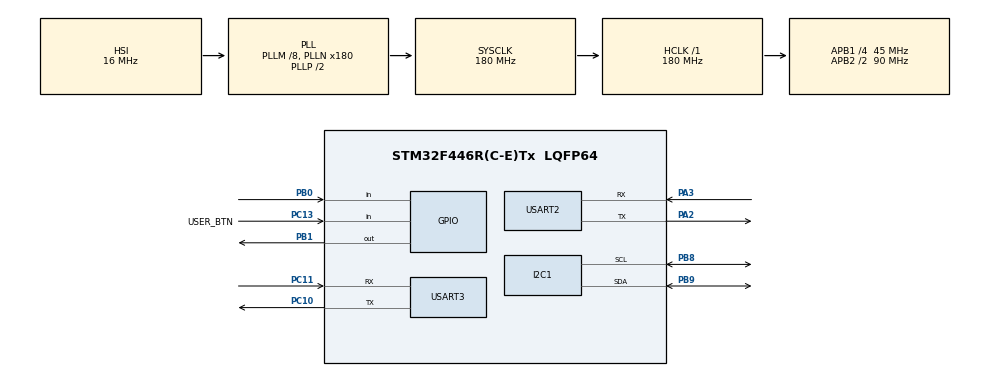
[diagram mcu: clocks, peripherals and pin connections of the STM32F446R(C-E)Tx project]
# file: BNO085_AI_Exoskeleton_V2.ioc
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I2C1.I2C_Mode=I2C_Standard
Mcu.Family=STM32F4
Mcu.Name=STM32F446R(C-E)Tx
Mcu.Package=LQFP64
NVIC.PriorityGroup=NVIC_PRIORITYGROUP_4
PA2.Mode=Asynchronous
PA2.Signal=USART2_TX
PA3.Mode=Asynchronous
PA3.Signal=USART2_RX
PB0.GPIO_PuPd=GPIO_NOPULL
PB0.Signal=GPIO_Input
PB1.Signal=GPIO_Output
PB8.GPIO_Pu=GPIO_PULLUP
PB8.Mode=I2C
PB8.Signal=I2C1_SCL
PB9.GPIO_Pu=GPIO_PULLUP
PB9.Mode=I2C
PB9.Signal=I2C1_SDA
PC10.Mode=Asynchronous
PC10.Signal=USART3_TX
PC11.Mode=Asynchronous
PC11.Signal=USART3_RX
PC13.GPIO_Label=USER_BTN
PC13.Signal=GPIO_Input
ProjectManager.HeapSize=0x800
ProjectManager.StackSize=0x800
ProjectManager.TargetToolchain=STM32CubeIDE
RCC.AHBFreq_Value=180000000
RCC.APB1CLKDivider=RCC_HCLK_DIV4
RCC.APB1Freq_Value=45000000
RCC.APB1TimFreq_Value=90000000
RCC.APB2CLKDivider=RCC_HCLK_DIV2
RCC.APB2Freq_Value=90000000
RCC.APB2TimFreq_Value=180000000
RCC.CortexFreq_Value=180000000
RCC.FLatency-AdvancedSettings=FLASH_LATENCY_5
RCC.HCLKFreq_Value=180000000
RCC.PLLM=8
RCC.PLLN=180
RCC.PLLP=2
RCC.SYSCLKFreq_VALUE=180000000
RCC.SYSCLKSource=RCC_SYSCLKSOURCE_PLLCLK
RCC.USBFreq_Value=180000000
RCC.VCOOutputFreq_Value=360000000
STMicroelectronics.X-CUBE-AI.10.2.0.ActivationBufferSizeList=2712
STMicroelectronics.X-CUBE-AI.10.2.0.ActivationBuffers=pool0
STMicroelectronics.X-CUBE-AI.10.2.0.ActivationNames=pool0
STMicroelectronics.X-CUBE-AI.10.2.0.ActivationSizes=AI_NETWORK_DATA_ACTIVATION_1_SIZE
STMicroelectronics.X-CUBE-AI.10.2.0.HeapSize=0x800
STMicroelectronics.X-CUBE-AI.10.2.0.InternalRamActivationBufferMaxSize=AI_NETWORK_DATA_ACTIVATIONS_SIZE
STMicroelectronics.X-CUBE-AI.10.2.0.LatestDirectoryUsed-8e456ab1ebd7fc26441a1bce2e34847979cb4fa966f7b214f75e0125f15f2d86=D\:\\Exoskeleton Trunk_program\\stm32_f446re\\BNO085_Second-stage neural network
STMicroelectronics.X-CUBE-AI.10.2.0.MaximumNumberOfInputLayer=1
STMicroelectronics.X-CUBE-AI.10.2.0.MaximumNumberOfOutputLayer=1
STMicroelectronics.X-CUBE-AI.10.2.0.MaximumSizeOfInputLayer=1
STMicroelectronics.X-CUBE-AI.10.2.0.MaximumSizeOfOutputLayer=1
STMicroelectronics.X-CUBE-AI.10.2.0.ModelActualCompression-8e456ab1ebd7fc26441a1bce2e34847979cb4fa966f7b214f75e0125f15f2d86=0.0
STMicroelectronics.X-CUBE-AI.10.2.0.ModelCompression-8e456ab1ebd7fc26441a1bce2e34847979cb4fa966f7b214f75e0125f15f2d86=None
STMicroelectronics.X-CUBE-AI.10.2.0.ModelFlashOccupation-8e456ab1ebd7fc26441a1bce2e34847979cb4fa966f7b214f75e0125f15f2d86=24900
STMicroelectronics.X-CUBE-AI.10.2.0.ModelHashList=8e456ab1ebd7fc26441a1bce2e34847979cb4fa966f7b214f75e0125f15f2d86
STMicroelectronics.X-CUBE-AI.10.2.0.ModelKind-8e456ab1ebd7fc26441a1bce2e34847979cb4fa966f7b214f75e0125f15f2d86=ONNX
STMicroelectronics.X-CUBE-AI.10.2.0.ModelMacc-8e456ab1ebd7fc26441a1bce2e34847979cb4fa966f7b214f75e0125f15f2d86=4062
STMicroelectronics.X-CUBE-AI.10.2.0.ModelName-8e456ab1ebd7fc26441a1bce2e34847979cb4fa966f7b214f75e0125f15f2d86=network
STMicroelectronics.X-CUBE-AI.10.2.0.ModelNameList=network
STMicroelectronics.X-CUBE-AI.10.2.0.ModelRamOccupation-8e456ab1ebd7fc26441a1bce2e34847979cb4fa966f7b214f75e0125f15f2d86=2712
STMicroelectronics.X-CUBE-AI.10.2.0.ModelStructureFile-8e456ab1ebd7fc26441a1bce2e34847979cb4fa966f7b214f75e0125f15f2d86=D\:\\Exoskeleton Trunk_program\\stm32_f446re\\BNO085_Second-stage neural network\\exoskeleton_model_V4_Static_fixed.onnx
STMicroelectronics.X-CUBE-AI.10.2.0.ModelType-8e456ab1ebd7fc26441a1bce2e34847979cb4fa966f7b214f75e0125f15f2d86=STM32Cube.AI MCU runtime
STMicroelectronics.X-CUBE-AI.10.2.0.ReadyForCodeGeneration=true
STMicroelectronics.X-CUBE-AI.10.2.0.StackSize=0x800
STMicroelectronics.X-CUBE-AI.10.2.0.WorkingBufferStartAddrList=0xFFFFFFFF
STMicroelectronics.X-CUBE-AI.10.2.0.XAaCUBEAaAICcArtificialOoIntelligenceJjCore=true
STMicroelectronics.X-CUBE-AI.10.2.0.copyWeightToRam=false
STMicroelectronics.X-CUBE-AI.10.2.0.copyWeightToRam-8e456ab1ebd7fc26441a1bce2e34847979cb4fa966f7b214f75e0125f15f2d86=false
STMicroelectronics.X-CUBE-AI.10.2.0.customLayerConfigEnabled=false
STMicroelectronics.X-CUBE-AI.10.2.0.customLayerConfigEnabled-8e456ab1ebd7fc26441a1bce2e34847979cb4fa966f7b214f75e0125f15f2d86=false
STMicroelectronics.X-CUBE-AI.10.2.0.noOnnxIoTranspose=false
STMicroelectronics.X-CUBE-AI.10.2.0.noOnnxIoTranspose-8e456ab1ebd7fc26441a1bce2e34847979cb4fa966f7b214f75e0125f15f2d86=false
STMicroelectronics.X-CUBE-AI.10.2.0.useInputAllocation=true
STMicroelectronics.X-CUBE-AI.10.2.0.useInputAllocation-8e456ab1ebd7fc26441a1bce2e34847979cb4fa966f7b214f75e0125f15f2d86=true
STMicroelectronics.X-CUBE-AI.10.2.0.useOutputAllocation=true
STMicroelectronics.X-CUBE-AI.10.2.0.useOutputAllocation-8e456ab1ebd7fc26441a1bce2e34847979cb4fa966f7b214f75e0125f15f2d86=true
USART2.VirtualMode=VM_ASYNC
USART3.VirtualMode=VM_ASYNC
VP_STMicroelectronics.X-CUBE-AI_VS_ArtificialOoIntelligenceJjXAaCUBEAaAI_10.2.0.Mode=ArtificialOoIntelligenceJjXAaCUBEAaAI
board=custom

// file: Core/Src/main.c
/* USER CODE BEGIN Header */
/**
  ******************************************************************************
  * @file           : main.c
  * @brief          : Main program body
  ******************************************************************************
  * @attention
  *
  * Copyright (c) 2026 STMicroelectronics.
  * All rights reserved.
  *
  * This software is licensed under terms that can be found in the LICENSE file
  * in the root directory of this software component.
  * If no LICENSE file comes with this software, it is provided AS-IS.
  *
  ******************************************************************************
  */
/* USER CODE END Header */
#include "main.h"

/* USER CODE BEGIN Includes */
#include <stdio.h>
#include <string.h>
#include <math.h>          // 新增：用來算 atan2 和 asin

//------AI----------//
#include "ai_platform.h"
#include "network.h"
#include "network_data.h"

/* USER CODE END Includes */

/* USER CODE BEGIN PD */
#define BNO08x_ADDR (0x4B << 1) // STM32 I2C 地址需左移 1 位
/* USER CODE END PD */

I2C_HandleTypeDef hi2c1;

UART_HandleTypeDef huart2;
UART_HandleTypeDef huart3;

/* USER CODE BEGIN PV */
float roll = 0.0f, pitch = 0.0f, yaw = 0.0f;
uint8_t isStreaming = 0;
uint32_t lastCmdTick = 0;

// BNO085 啟動指令 (要求 20Hz 回報 Rotation Vector)
uint8_t setFeatureCmd[21] = {
    21, 0, 2, 0,
    0xFD, 0x05, 0, 0, 0,
    0x50, 0xC3, 0x00, 0x00,
    0, 0, 0, 0, 0, 0, 0, 0
};

// --- AI 核心控制變數 ---
ai_handle network_handle = AI_HANDLE_NULL;
ai_buffer *ptr_ai_in;
ai_buffer *ptr_ai_out;

// AI 運算用的暫存記憶體 (Activation Buffer)
static ai_u8 activations[AI_NETWORK_DATA_ACTIVATIONS_SIZE];

// --- 感測器滑動視窗與防抖變數 ---
float my_ai_in[20];  // 給 AI 的 [1, 2, 10] 扁平化資料
float my_ai_out[4];  // AI 輸出的 4 個狀態機率

float temp_pitch_array[10];
float temp_delta_array[10];
uint8_t window_index = 0;

float last_pitch = 0.0f;
float delta_buffer[10] = {0};
uint8_t delta_idx = 0;

uint8_t is_calibrated = 0;
float offset_pitch = 0.0f;

// BNO08x_ADDR 和 setFeatureCmd 請確保您在全域有宣告

/* USER CODE END PV */

void SystemClock_Config(void);
static void MX_GPIO_Init(void);
static void MX_I2C1_Init(void);
static void MX_USART2_UART_Init(void);
static void MX_USART3_UART_Init(void);

/* USER CODE BEGIN 0 */
int _write(int file, char *ptr, int len) {
    // 透過 USART2 把字元一個一個推給電腦
    HAL_UART_Transmit(&huart2, (uint8_t *)ptr, len, 100);
    return len;
}
//-------AI初始化大腦 (v10.2.0 正確指標版) ------------//
void My_AI_Init(void) {
    ai_error err;

    // 🌟 核心修正：將 activations 包裝成「指標陣列」交給 API
    ai_handle act_addr[] = { activations };

    // 傳入包裝好的 act_addr
    err = ai_network_create_and_init(&network_handle, act_addr, NULL);

    if (err.type != AI_ERROR_NONE) {
        char msg[60];
        // 萬一還有錯，把原廠錯誤代碼印出來讓我們抓蟲
        sprintf(msg, "AI Init Error! Type:%d Code:%d\r\n", err.type, err.code);
        HAL_UART_Transmit(&huart2, (uint8_t*)msg, strlen(msg), 100);
    } else {
        // 成功啟動後，向引擎索取輸入與輸出的指標
        ptr_ai_in = ai_network_inputs_get(network_handle, NULL);
        ptr_ai_out = ai_network_outputs_get(network_handle, NULL);

        char msg[] = "AI Engine Started!\r\n";
        HAL_UART_Transmit(&huart2, (uint8_t*)msg, strlen(msg), 100);
    }
}
/* USER CODE END 0 */

int main(void)
{

  /* MCU Configuration--------------------------------------------------------*/

  /* Reset of all peripherals, Initializes the Flash interface and the Systick. */
  HAL_Init();

  /* Configure the system clock */
  SystemClock_Config();

  /* Initialize all configured peripherals */
  MX_GPIO_Init();
  MX_I2C1_Init();
  MX_USART2_UART_Init();
  MX_USART3_UART_Init();
  /* USER CODE BEGIN 2 */

  HAL_Delay(1000);
    printf("\r\n=== BNO085 姿態解算啟動 ===\r\n");

    // 硬體重置 BNO085
    HAL_GPIO_WritePin(GPIOB, GPIO_PIN_1, GPIO_PIN_RESET);
    HAL_Delay(50);
    HAL_GPIO_WritePin(GPIOB, GPIO_PIN_1, GPIO_PIN_SET);
    HAL_Delay(500);

    if (HAL_I2C_IsDeviceReady(&hi2c1, BNO08x_ADDR, 5, 100) == HAL_OK) {
        printf("-> BNO085 (0x4B) 連線成功！準備接收資料...\r\n");
    }

    My_AI_Init(); // 啟動神經網路
  /* USER CODE END 2 */

  /* Infinite loop */
  /* USER CODE BEGIN WHILE */
  while (1)
  {
	  // --- 任務 A：自動喚醒機制 ---
	        // 如果還沒收到資料，每 2 秒瘋狂敲門一次
	        if (isStreaming == 0 && (HAL_GetTick() - lastCmdTick > 2000)) {
	            printf("-> 發送啟動指令給 BNO085...\r\n");
	            HAL_I2C_Master_Transmit(&hi2c1, BNO08x_ADDR, setFeatureCmd, 21, 100);
	            lastCmdTick = HAL_GetTick();
	        }

	        // --- 任務 B：資料接收與解算 ---
	        // 當 INT 腳位 (PB0) 被拉低時，代表感測器有話要說
	        if (HAL_GPIO_ReadPin(GPIOB, GPIO_PIN_0) == GPIO_PIN_RESET)
	        {
	            uint8_t header[4];
	            if (HAL_I2C_Master_Receive(&hi2c1, BNO08x_ADDR, header, 4, 100) == HAL_OK)
	            {
	                uint16_t length = ((header[1] << 8) | header[0]) & 0x7FFF;
	                uint8_t channel = header[2];

	                if (length > 0 && length <= 512)
	                {
	                    uint8_t shtpData[512];
	                    if (HAL_I2C_Master_Receive(&hi2c1, BNO08x_ADDR, shtpData, length, 100) == HAL_OK)
	                    {
	                        // 判斷是否為 Rotation Vector (通道 3, 且 Feature ID 為 0x05)
	                        if (channel == 3 && shtpData[9] == 0x05)
	                        {
	                            isStreaming = 1; // 標記為成功，停止奪命連環呼叫

	                            // 提取四元數原始資料
	                            int16_t i_raw = (shtpData[14] << 8) | shtpData[13];
	                            int16_t j_raw = (shtpData[16] << 8) | shtpData[15];
	                            int16_t k_raw = (shtpData[18] << 8) | shtpData[17];
	                            int16_t r_raw = (shtpData[20] << 8) | shtpData[19];

	                            float qI = (float)i_raw / 16384.0f;
	                            float qJ = (float)j_raw / 16384.0f;
	                            float qK = (float)k_raw / 16384.0f;
	                            float qR = (float)r_raw / 16384.0f;

	                            // 四元數轉歐拉角 (Roll, Pitch, Yaw)
	                            float sqI = qI * qI, sqJ = qJ * qJ, sqK = qK * qK;

	                            float roll_rad  = atan2(2.0f * (qR * qI + qJ * qK), 1.0f - 2.0f * (sqI + sqJ));
	                            float pitch_rad = asin(2.0f * (qR * qJ - qK * qI));
	                            float yaw_rad   = atan2(2.0f * (qR * qK + qI * qJ), 1.0f - 2.0f * (sqJ + sqK));

	                            // 弧度轉角度
	                            roll  = roll_rad  * 180.0f / 3.14159265f;
	                            pitch = pitch_rad * 180.0f / 3.14159265f;
	                            yaw   = yaw_rad   * 180.0f / 3.14159265f;

	                            // ==========================================
	                            // 🧠 AI 神經傳導邏輯 V4：相對角度與速度防抖引擎
	                            // ==========================================

	                            // 1. 開機自動歸零 (Auto-Tare)
	                            if (is_calibrated == 0) {
	                                offset_pitch = pitch;
	                                last_pitch = 0.0f; // 歸零初始值
	                                is_calibrated = 1;
	                                printf("--- 感測器 V4 歸零完成！ ---\r\n");
	                            }

	                            // 2. 特徵一：計算標準化 Pitch (站直絕對是 0)
	                            float pitch_normalized = pitch - offset_pitch;

	                            // 3. 特徵二：計算平滑變化速度 (Smoothed Delta)
	                            float raw_delta = pitch_normalized - last_pitch;
	                            last_pitch = pitch_normalized; // 更新歷史紀錄

	                            // 將原始變化量放入環形緩衝區 (10個點平均)
	                            delta_buffer[delta_idx] = raw_delta;
	                            delta_idx = (delta_idx + 1) % 10;

	                            float delta_pitch_smoothed = 0.0f;
	                            for(int i = 0; i < 10; i++) {
	                                delta_pitch_smoothed += delta_buffer[i];
	                            }
	                            delta_pitch_smoothed /= 10.0f; // 算出避震過後的純淨速度

	                            // 💡 【修正極性】
	                            // 如果您發現現在彎腰是負的，但當初訓練是正的，請把這行的註解打開，強制反轉極性：
	                            // pitch_normalized = pitch_normalized * -1.0f;
	                            // delta_pitch_smoothed = delta_pitch_smoothed * -1.0f;

	                            // 4. 連續滑動視窗引擎 (FIFO: 先進先出)
	                            // 把舊資料全部往左推一格
	                            for(int i = 0; i < 9; i++) {
	                                temp_pitch_array[i] = temp_pitch_array[i+1];
	                                temp_delta_array[i] = temp_delta_array[i+1];
	                            }
	                            // 將最新的一筆資料放在陣列最後面
	                            temp_pitch_array[9] = pitch_normalized;
	                            temp_delta_array[9] = delta_pitch_smoothed;

	                            // 為了確保開機前 10 筆資料還沒填滿時不要亂猜，我們加一個簡單的計數器
	                            if (window_index < 10) {
	                                window_index++;
	                            }

	                            // 5. 只要陣列一滿，"每一幀" 都觸發 AI 推論！(速度將恢復成與感測器同步)
	                            if (window_index >= 10) {
	                                // 【通道對齊】前 10 個放 Pitch，後 10 個放 Delta
	                                for(int i = 0; i < 10; i++) my_ai_in[i]      = temp_pitch_array[i];
	                                for(int i = 0; i < 10; i++) my_ai_in[10 + i] = temp_delta_array[i];

	                                ptr_ai_in[0].data = AI_HANDLE_PTR(my_ai_in);
	                                ptr_ai_out[0].data = AI_HANDLE_PTR(my_ai_out);

	                                // 執行推論！
	                                if (ai_network_run(network_handle, ptr_ai_in, ptr_ai_out) == 1) {
	                                    int current_state = 0;
	                                    float max_prob = my_ai_out[0];
	                                    for(int i = 1; i < 4; i++){
	                                        if(my_ai_out[i] > max_prob){
	                                            max_prob = my_ai_out[i];
	                                            current_state = i;
	                                        }
	                                    }

	                                    // 印出結果 (現在速度會變得飛快！)
	                                    printf("State: %d | Pitch: %5.1f | Spd: %5.2f\r\n",
	                                           current_state, temp_pitch_array[9], temp_delta_array[9]);
	                                }
	                            }
	                            // ==========================================
	                        }
	                    }
	                }
	            }
	        }
    /* USER CODE END WHILE */

  }
}

void SystemClock_Config(void)
{
  RCC_OscInitTypeDef RCC_OscInitStruct = {0};
  RCC_ClkInitTypeDef RCC_ClkInitStruct = {0};

  /** Configure the main internal regulator output voltage
  */
  __HAL_RCC_PWR_CLK_ENABLE();
  __HAL_PWR_VOLTAGESCALING_CONFIG(PWR_REGULATOR_VOLTAGE_SCALE1);

  /** Initializes the RCC Oscillators according to the specified parameters
  * in the RCC_OscInitTypeDef structure.
  */
  RCC_OscInitStruct.OscillatorType = RCC_OSCILLATORTYPE_HSI;
  RCC_OscInitStruct.HSIState = RCC_HSI_ON;
  RCC_OscInitStruct.HSICalibrationValue = RCC_HSICALIBRATION_DEFAULT;
  RCC_OscInitStruct.PLL.PLLState = RCC_PLL_ON;
  RCC_OscInitStruct.PLL.PLLSource = RCC_PLLSOURCE_HSI;
  RCC_OscInitStruct.PLL.PLLM = 8;
  RCC_OscInitStruct.PLL.PLLN = 180;
  RCC_OscInitStruct.PLL.PLLP = 2;
  RCC_OscInitStruct.PLL.PLLQ = 2;
  RCC_OscInitStruct.PLL.PLLR = 2;
  if (HAL_RCC_OscConfig(&RCC_OscInitStruct) != HAL_OK)
  {
    Error_Handler();
  }

  /** Activate the Over-Drive mode
  */
  if (HAL_PWREx_EnableOverDrive() != HAL_OK)
  {
    Error_Handler();
  }

  /** Initializes the CPU, AHB and APB buses clocks
  */
  RCC_ClkInitStruct.ClockType = RCC_CLOCKTYPE_HCLK|RCC_CLOCKTYPE_SYSCLK
                              |RCC_CLOCKTYPE_PCLK1|RCC_CLOCKTYPE_PCLK2;
  RCC_ClkInitStruct.SYSCLKSource = RCC_SYSCLKSOURCE_PLLCLK;
  RCC_ClkInitStruct.AHBCLKDivider = RCC_SYSCLK_DIV1;
  RCC_ClkInitStruct.APB1CLKDivider = RCC_HCLK_DIV4;
  RCC_ClkInitStruct.APB2CLKDivider = RCC_HCLK_DIV2;

  if (HAL_RCC_ClockConfig(&RCC_ClkInitStruct, FLASH_LATENCY_5) != HAL_OK)
  {
    Error_Handler();
  }
}

static void MX_I2C1_Init(void)
{

  hi2c1.Instance = I2C1;
  hi2c1.Init.ClockSpeed = 100000;
  hi2c1.Init.DutyCycle = I2C_DUTYCYCLE_2;
  hi2c1.Init.OwnAddress1 = 0;
  hi2c1.Init.AddressingMode = I2C_ADDRESSINGMODE_7BIT;
  hi2c1.Init.DualAddressMode = I2C_DUALADDRESS_DISABLE;
  hi2c1.Init.OwnAddress2 = 0;
  hi2c1.Init.GeneralCallMode = I2C_GENERALCALL_DISABLE;
  hi2c1.Init.NoStretchMode = I2C_NOSTRETCH_DISABLE;
  if (HAL_I2C_Init(&hi2c1) != HAL_OK)
  {
    Error_Handler();
  }

}

static void MX_USART2_UART_Init(void)
{

  huart2.Instance = USART2;
  huart2.Init.BaudRate = 115200;
  huart2.Init.WordLength = UART_WORDLENGTH_8B;
  huart2.Init.StopBits = UART_STOPBITS_1;
  huart2.Init.Parity = UART_PARITY_NONE;
  huart2.Init.Mode = UART_MODE_TX_RX;
  huart2.Init.HwFlowCtl = UART_HWCONTROL_NONE;
  huart2.Init.OverSampling = UART_OVERSAMPLING_16;
  if (HAL_UART_Init(&huart2) != HAL_OK)
  {
    Error_Handler();
  }

}

static void MX_USART3_UART_Init(void)
{

  huart3.Instance = USART3;
  huart3.Init.BaudRate = 115200;
  huart3.Init.WordLength = UART_WORDLENGTH_8B;
  huart3.Init.StopBits = UART_STOPBITS_1;
  huart3.Init.Parity = UART_PARITY_NONE;
  huart3.Init.Mode = UART_MODE_TX_RX;
  huart3.Init.HwFlowCtl = UART_HWCONTROL_NONE;
  huart3.Init.OverSampling = UART_OVERSAMPLING_16;
  if (HAL_UART_Init(&huart3) != HAL_OK)
  {
    Error_Handler();
  }

}

static void MX_GPIO_Init(void)
{
  GPIO_InitTypeDef GPIO_InitStruct = {0};

  /* GPIO Ports Clock Enable */
  __HAL_RCC_GPIOA_CLK_ENABLE();
  __HAL_RCC_GPIOB_CLK_ENABLE();
  __HAL_RCC_GPIOC_CLK_ENABLE();

  /*Configure GPIO pin Output Level */
  HAL_GPIO_WritePin(GPIOB, GPIO_PIN_1, GPIO_PIN_RESET);

  /*Configure GPIO pin : PB0 */
  GPIO_InitStruct.Pin = GPIO_PIN_0;
  GPIO_InitStruct.Mode = GPIO_MODE_INPUT;
  GPIO_InitStruct.Pull = GPIO_NOPULL;
  HAL_GPIO_Init(GPIOB, &GPIO_InitStruct);

  /*Configure GPIO pin : PB1 */
  GPIO_InitStruct.Pin = GPIO_PIN_1;
  GPIO_InitStruct.Mode = GPIO_MODE_OUTPUT_PP;
  GPIO_InitStruct.Pull = GPIO_NOPULL;
  GPIO_InitStruct.Speed = GPIO_SPEED_FREQ_LOW;
  HAL_GPIO_Init(GPIOB, &GPIO_InitStruct);

}

void Error_Handler(void)
{
  __disable_irq();
  while (1)
  {
  }
}
